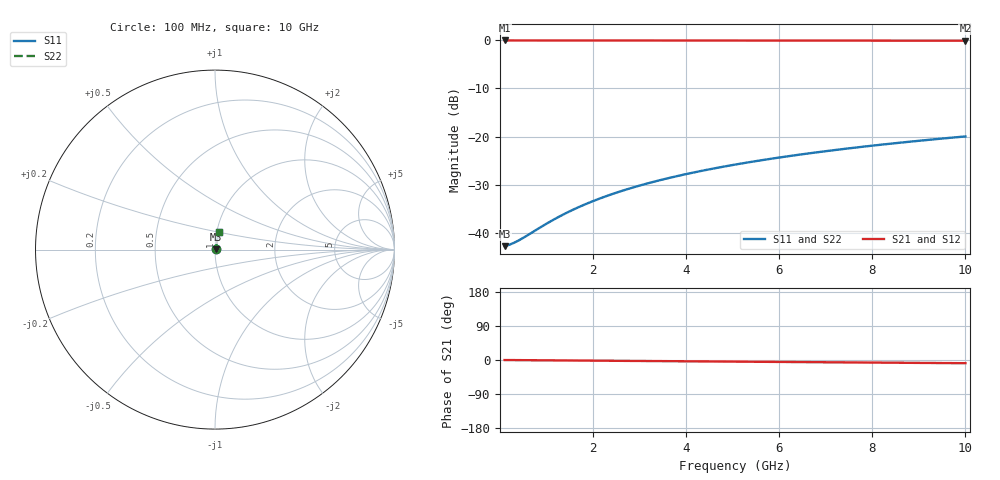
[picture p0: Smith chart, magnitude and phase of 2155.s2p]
# Hz S RI R 50.00
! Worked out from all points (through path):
!   100 points, 100 MHz to 10 GHz, reference 50 ohm
!   highest |S21| = -0.06 dB at 100 MHz (marker M1); lowest = -0.1 dB at 10 GHz (marker M2)
!   group delay of S21, straight-line fit = 2.36 ps
!   lowest |S11| = -42.7 dB at 100 MHz (marker M3), VSWR 1.01, Z = 50.7 + j0.101 ohm
!   |S11| at or under -10 dB: start of sweep to end of sweep
!   |S22| runs from -42.7 to -19.9 dB; largest |S21 - S12| = 0
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1e8  0.00728 0.000997  0.9927 -0.00147  0.9927 -0.00147  0.00728 0.000997
2e8  0.00734 0.00199  0.9927 -0.00294  0.9927 -0.00294  0.00734 0.00199
3e8  0.00738 0.00299  0.9926 -0.00441  0.9926 -0.00441  0.00738 0.00299
4e8  0.00742 0.00399  0.9926 -0.00587  0.9926 -0.00587  0.00742 0.00399
5e8  0.00745 0.00498  0.9925 -0.00734  0.9925 -0.00734  0.00745 0.00498
1e9  0.00765 0.00996  0.9923 -0.0147  0.9923 -0.0147  0.00765 0.00996
1.2e9  0.00774 0.012  0.9922 -0.0176  0.9922 -0.0176  0.00774 0.012
1.5e9  0.0079 0.0149  0.9921 -0.022  0.9921 -0.022  0.0079 0.0149
1.8e9  0.00807 0.0179  0.9919 -0.0264  0.9919 -0.0264  0.00807 0.0179
2.1e9  0.00827 0.0209  0.9917 -0.0308  0.9917 -0.0308  0.00827 0.0209
2.5e9  0.00858 0.0249  0.9913 -0.0367  0.9913 -0.0367  0.00858 0.0249
2.9e9  0.00893 0.0288  0.991 -0.0425  0.991 -0.0425  0.00893 0.0288
3.4e9  0.00942 0.0338  0.9904 -0.0499  0.9904 -0.0499  0.00942 0.0338
3.8e9  0.00987 0.0378  0.9899 -0.0557  0.9899 -0.0557  0.00987 0.0378
4.2e9  0.0104 0.0417  0.9894 -0.0616  0.9894 -0.0616  0.0104 0.0417
4.6e9  0.0109 0.0457  0.9888 -0.0674  0.9888 -0.0674  0.0109 0.0457
5.1e9  0.0117 0.0506  0.988 -0.0747  0.988 -0.0747  0.0117 0.0506
5.9e9  0.013 0.0584  0.9866 -0.0864  0.9866 -0.0864  0.013 0.0584
6.7e9  0.0145 0.0662  0.985 -0.098  0.985 -0.098  0.0145 0.0662
7.5e9  0.0162 0.074  0.9831 -0.1096  0.9831 -0.1096  0.0162 0.074
8.4e9  0.0183 0.0827  0.9808 -0.1226  0.9808 -0.1226  0.0183 0.0827
1e10  0.0227 0.0981  0.9761 -0.1455  0.9761 -0.1455  0.0227 0.0981
